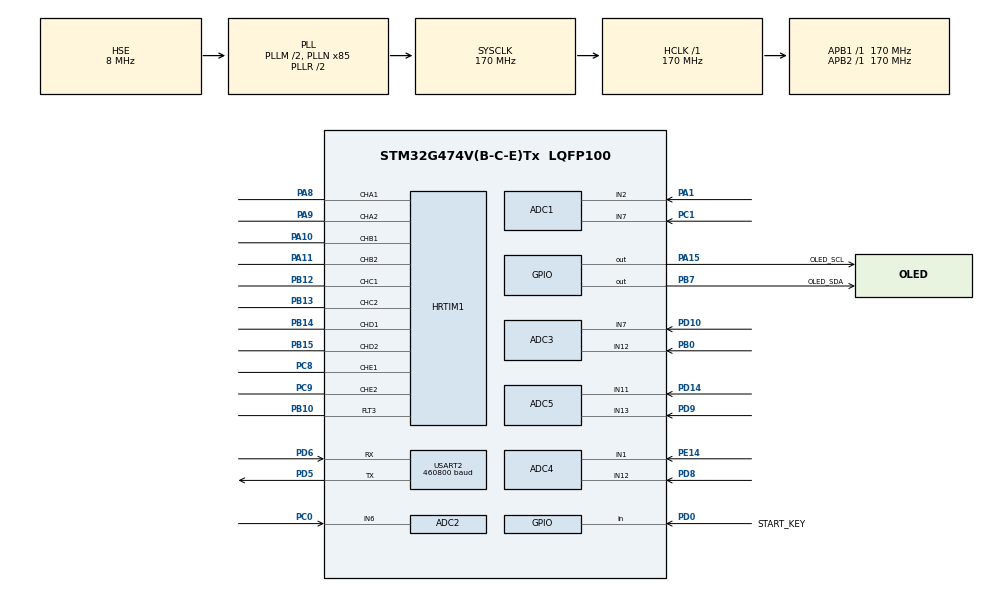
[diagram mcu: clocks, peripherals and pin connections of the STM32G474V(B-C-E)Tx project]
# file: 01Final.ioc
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ADC1.AWD1HighThreshold=4095
ADC1.AWD1ITMode=ENABLE
ADC1.AWD2HighThreshold=4095
ADC1.AWD2ITMode=ENABLE
ADC1.AWDChannel-1\#ChannelRegularConversion=ADC_CHANNEL_7
ADC1.Channel-0\#ChannelRegularConversion=ADC_CHANNEL_2
ADC1.Channel-1\#ChannelRegularConversion=ADC_CHANNEL_7
ADC1.ClockPrescaler=ADC_CLOCK_ASYNC_DIV4
ADC1.DMAContinuousRequests=ENABLE
ADC1.EOCSelection=ADC_EOC_SEQ_CONV
ADC1.EnableAnalogWatchDog1=true
ADC1.EnableAnalogWatchDog2=true
ADC1.ExternalTrigConv=ADC_EXTERNALTRIG_HRTIM_TRG1
ADC1.MonitoredBy-1\#ChannelRegularConversion=ADC_ANALOGWATCHDOG_2
ADC1.NbrOfConversion=2
ADC1.NbrOfConversionFlag=1
ADC1.OffsetNumber-0\#ChannelRegularConversion=ADC_OFFSET_NONE
ADC1.OffsetNumber-1\#ChannelRegularConversion=ADC_OFFSET_NONE
ADC1.Overrun=ADC_OVR_DATA_OVERWRITTEN
ADC1.Rank-0\#ChannelRegularConversion=1
ADC1.Rank-1\#ChannelRegularConversion=2
ADC1.RegFilteringConfig-1\#ChannelRegularConversion=ADC_AWD_FILTERING_NONE
ADC1.SamplingTime-0\#ChannelRegularConversion=ADC_SAMPLETIME_24CYCLES_5
ADC1.SamplingTime-1\#ChannelRegularConversion=ADC_SAMPLETIME_24CYCLES_5
ADC1.WDG2ChannelR2=ADC_CHANNEL_7
ADC1.WatchdogChannel=ADC_CHANNEL_2
ADC1.WatchdogMode2=ADC_ANALOGWATCHDOG_SINGLE_REGINJEC
ADC1.master=1
ADC2.AWD1HighThreshold=4095
ADC2.AWD1ITMode=ENABLE
ADC2.Channel-0\#ChannelRegularConversion=ADC_CHANNEL_6
ADC2.ClockPrescaler=ADC_CLOCK_ASYNC_DIV4
ADC2.DMAContinuousRequests=ENABLE
ADC2.EOCSelection=ADC_EOC_SEQ_CONV
ADC2.EnableAnalogWatchDog1=true
ADC2.ExternalTrigConv=ADC_EXTERNALTRIG_HRTIM_TRG1
ADC2.NbrOfConversion=1
ADC2.NbrOfConversionFlag=1
ADC2.OffsetNumber-0\#ChannelRegularConversion=ADC_OFFSET_NONE
ADC2.Overrun=ADC_OVR_DATA_OVERWRITTEN
ADC2.Rank-0\#ChannelRegularConversion=1
ADC2.SamplingTime-0\#ChannelRegularConversion=ADC_SAMPLETIME_24CYCLES_5
ADC2.WatchdogChannel=ADC_CHANNEL_6
ADC3.AWD1HighThreshold=4095
ADC3.AWD1ITMode=ENABLE
ADC3.AWD2HighThreshold=4095
ADC3.AWD2ITMode=ENABLE
ADC3.AWDChannel-2\#ChannelRegularConversion=ADC_CHANNEL_7
ADC3.Channel-0\#ChannelRegularConversion=ADC_CHANNEL_12
ADC3.Channel-2\#ChannelRegularConversion=ADC_CHANNEL_7
ADC3.ClockPrescaler=ADC_CLOCK_ASYNC_DIV4
ADC3.DMAContinuousRequests=ENABLE
ADC3.EOCSelection=ADC_EOC_SEQ_CONV
ADC3.EnableAnalogWatchDog1=true
ADC3.EnableAnalogWatchDog2=true
ADC3.ExternalTrigConv=ADC_EXTERNALTRIG_HRTIM_TRG2
ADC3.MonitoredBy-2\#ChannelRegularConversion=ADC_ANALOGWATCHDOG_2
ADC3.NbrOfConversion=2
ADC3.NbrOfConversionFlag=1
ADC3.OffsetNumber-2\#ChannelRegularConversion=ADC_OFFSET_NONE
ADC3.Overrun=ADC_OVR_DATA_OVERWRITTEN
ADC3.Rank-2\#ChannelRegularConversion=2
ADC3.RegFilteringConfig-2\#ChannelRegularConversion=ADC_AWD_FILTERING_NONE
ADC3.SamplingTime-0\#ChannelRegularConversion=ADC_SAMPLETIME_24CYCLES_5
ADC3.SamplingTime-2\#ChannelRegularConversion=ADC_SAMPLETIME_24CYCLES_5
ADC3.WDG2ChannelR2=ADC_CHANNEL_7
ADC3.WatchdogChannel=ADC_CHANNEL_12
ADC3.WatchdogMode2=ADC_ANALOGWATCHDOG_SINGLE_REGINJEC
ADC3.master=1
ADC4.AWD1HighThreshold=4095
ADC4.AWD1ITMode=ENABLE
ADC4.AWD2HighThreshold=4095
ADC4.AWD2ITMode=ENABLE
ADC4.AWDChannel-1\#ChannelRegularConversion=ADC_CHANNEL_1
ADC4.Channel-0\#ChannelRegularConversion=ADC_CHANNEL_12
ADC4.Channel-1\#ChannelRegularConversion=ADC_CHANNEL_1
ADC4.ClockPrescaler=ADC_CLOCK_ASYNC_DIV4
ADC4.DMAContinuousRequests=ENABLE
ADC4.EOCSelection=ADC_EOC_SEQ_CONV
ADC4.EnableAnalogWatchDog1=true
ADC4.EnableAnalogWatchDog2=true
ADC4.ExternalTrigConv=ADC_EXTERNALTRIG_HRTIM_TRG2
ADC4.MonitoredBy-1\#ChannelRegularConversion=ADC_ANALOGWATCHDOG_2
ADC4.NbrOfConversion=2
ADC4.NbrOfConversionFlag=1
ADC4.OffsetNumber-0\#ChannelRegularConversion=ADC_OFFSET_NONE
ADC4.OffsetNumber-1\#ChannelRegularConversion=ADC_OFFSET_NONE
ADC4.Overrun=ADC_OVR_DATA_OVERWRITTEN
ADC4.Rank-0\#ChannelRegularConversion=1
ADC4.Rank-1\#ChannelRegularConversion=2
ADC4.RegFilteringConfig-1\#ChannelRegularConversion=ADC_AWD_FILTERING_NONE
ADC4.SamplingTime-0\#ChannelRegularConversion=ADC_SAMPLETIME_24CYCLES_5
ADC4.SamplingTime-1\#ChannelRegularConversion=ADC_SAMPLETIME_24CYCLES_5
ADC4.WDG2ChannelR2=ADC_CHANNEL_1
ADC4.WatchdogChannel=ADC_CHANNEL_12
ADC4.WatchdogMode2=ADC_ANALOGWATCHDOG_SINGLE_REGINJEC
ADC5.AWD1HighThreshold=4095
ADC5.AWD1ITMode=ENABLE
ADC5.AWD2HighThreshold=4095
ADC5.AWD2ITMode=ENABLE
ADC5.AWDChannel-1\#ChannelRegularConversion=ADC_CHANNEL_11
ADC5.Channel-0\#ChannelRegularConversion=ADC_CHANNEL_13
ADC5.Channel-1\#ChannelRegularConversion=ADC_CHANNEL_11
ADC5.ClockPrescaler=ADC_CLOCK_ASYNC_DIV4
ADC5.DMAContinuousRequests=ENABLE
ADC5.EOCSelection=ADC_EOC_SEQ_CONV
ADC5.EnableAnalogWatchDog1=true
ADC5.EnableAnalogWatchDog2=true
ADC5.ExternalTrigConv=ADC_EXTERNALTRIG_HRTIM_TRG2
ADC5.MonitoredBy-1\#ChannelRegularConversion=ADC_ANALOGWATCHDOG_2
ADC5.NbrOfConversion=2
ADC5.NbrOfConversionFlag=1
ADC5.OffsetNumber-0\#ChannelRegularConversion=ADC_OFFSET_NONE
ADC5.OffsetNumber-1\#ChannelRegularConversion=ADC_OFFSET_NONE
ADC5.Overrun=ADC_OVR_DATA_OVERWRITTEN
ADC5.Rank-0\#ChannelRegularConversion=1
ADC5.Rank-1\#ChannelRegularConversion=2
ADC5.RegFilteringConfig-1\#ChannelRegularConversion=ADC_AWD_FILTERING_NONE
ADC5.SamplingTime-0\#ChannelRegularConversion=ADC_SAMPLETIME_24CYCLES_5
ADC5.SamplingTime-1\#ChannelRegularConversion=ADC_SAMPLETIME_24CYCLES_5
ADC5.WDG2ChannelR2=ADC_CHANNEL_11
ADC5.WatchdogChannel=ADC_CHANNEL_13
ADC5.WatchdogMode2=ADC_ANALOGWATCHDOG_SINGLE_REGINJEC
Dma.ADC1.0.Direction=DMA_PERIPH_TO_MEMORY
Dma.ADC1.0.EventEnable=DISABLE
Dma.ADC1.0.Instance=DMA1_Channel1
Dma.ADC1.0.MemDataAlignment=DMA_MDATAALIGN_HALFWORD
Dma.ADC1.0.MemInc=DMA_MINC_ENABLE
Dma.ADC1.0.Mode=DMA_CIRCULAR
Dma.ADC1.0.PeriphDataAlignment=DMA_PDATAALIGN_HALFWORD
Dma.ADC1.0.PeriphInc=DMA_PINC_DISABLE
Dma.ADC1.0.Polarity=HAL_DMAMUX_REQ_GEN_RISING
Dma.ADC1.0.Priority=DMA_PRIORITY_HIGH
Dma.ADC1.0.RequestNumber=1
Dma.ADC1.0.SignalID=NONE
Dma.ADC1.0.SyncEnable=DISABLE
Dma.ADC1.0.SyncPolarity=HAL_DMAMUX_SYNC_NO_EVENT
Dma.ADC1.0.SyncRequestNumber=1
Dma.ADC1.0.SyncSignalID=NONE
Dma.ADC2.1.Direction=DMA_PERIPH_TO_MEMORY
Dma.ADC2.1.EventEnable=DISABLE
Dma.ADC2.1.Instance=DMA1_Channel2
Dma.ADC2.1.MemDataAlignment=DMA_MDATAALIGN_HALFWORD
Dma.ADC2.1.MemInc=DMA_MINC_ENABLE
Dma.ADC2.1.Mode=DMA_CIRCULAR
Dma.ADC2.1.PeriphDataAlignment=DMA_PDATAALIGN_HALFWORD
Dma.ADC2.1.PeriphInc=DMA_PINC_DISABLE
Dma.ADC2.1.Polarity=HAL_DMAMUX_REQ_GEN_RISING
Dma.ADC2.1.Priority=DMA_PRIORITY_HIGH
Dma.ADC2.1.RequestNumber=1
Dma.ADC2.1.SignalID=NONE
Dma.ADC2.1.SyncEnable=DISABLE
Dma.ADC2.1.SyncPolarity=HAL_DMAMUX_SYNC_NO_EVENT
Dma.ADC2.1.SyncRequestNumber=1
Dma.ADC2.1.SyncSignalID=NONE
Dma.ADC3.4.Direction=DMA_PERIPH_TO_MEMORY
Dma.ADC3.4.EventEnable=DISABLE
Dma.ADC3.4.Instance=DMA2_Channel1
Dma.ADC3.4.MemDataAlignment=DMA_MDATAALIGN_HALFWORD
Dma.ADC3.4.MemInc=DMA_MINC_ENABLE
Dma.ADC3.4.Mode=DMA_CIRCULAR
Dma.ADC3.4.PeriphDataAlignment=DMA_PDATAALIGN_HALFWORD
Dma.ADC3.4.PeriphInc=DMA_PINC_DISABLE
Dma.ADC3.4.Polarity=HAL_DMAMUX_REQ_GEN_RISING
Dma.ADC3.4.Priority=DMA_PRIORITY_HIGH
Dma.ADC3.4.RequestNumber=1
Dma.ADC3.4.SignalID=NONE
Dma.ADC3.4.SyncEnable=DISABLE
Dma.ADC3.4.SyncPolarity=HAL_DMAMUX_SYNC_NO_EVENT
Dma.ADC3.4.SyncRequestNumber=1
Dma.ADC3.4.SyncSignalID=NONE
Dma.ADC4.2.Direction=DMA_PERIPH_TO_MEMORY
Dma.ADC4.2.EventEnable=DISABLE
Dma.ADC4.2.Instance=DMA2_Channel2
Dma.ADC4.2.MemDataAlignment=DMA_MDATAALIGN_HALFWORD
Dma.ADC4.2.MemInc=DMA_MINC_ENABLE
Dma.ADC4.2.Mode=DMA_CIRCULAR
Dma.ADC4.2.PeriphDataAlignment=DMA_PDATAALIGN_HALFWORD
Dma.ADC4.2.PeriphInc=DMA_PINC_DISABLE
Dma.ADC4.2.Polarity=HAL_DMAMUX_REQ_GEN_RISING
Dma.ADC4.2.Priority=DMA_PRIORITY_HIGH
Dma.ADC4.2.RequestNumber=1
Dma.ADC4.2.SignalID=NONE
Dma.ADC4.2.SyncEnable=DISABLE
Dma.ADC4.2.SyncPolarity=HAL_DMAMUX_SYNC_NO_EVENT
Dma.ADC4.2.SyncRequestNumber=1
Dma.ADC4.2.SyncSignalID=NONE
Dma.ADC5.3.Direction=DMA_PERIPH_TO_MEMORY
Dma.ADC5.3.EventEnable=DISABLE
Dma.ADC5.3.Instance=DMA2_Channel3
Dma.ADC5.3.MemDataAlignment=DMA_MDATAALIGN_HALFWORD
Dma.ADC5.3.MemInc=DMA_MINC_ENABLE
Dma.ADC5.3.Mode=DMA_CIRCULAR
Dma.ADC5.3.PeriphDataAlignment=DMA_PDATAALIGN_HALFWORD
Dma.ADC5.3.PeriphInc=DMA_PINC_DISABLE
Dma.ADC5.3.Polarity=HAL_DMAMUX_REQ_GEN_RISING
Dma.ADC5.3.Priority=DMA_PRIORITY_HIGH
Dma.ADC5.3.RequestNumber=1
Dma.ADC5.3.SignalID=NONE
Dma.ADC5.3.SyncEnable=DISABLE
Dma.ADC5.3.SyncPolarity=HAL_DMAMUX_SYNC_NO_EVENT
Dma.ADC5.3.SyncRequestNumber=1
Dma.ADC5.3.SyncSignalID=NONE
Dma.Request0=ADC1
Dma.Request1=ADC2
Dma.Request2=ADC4
Dma.Request3=ADC5
Dma.Request4=ADC3
HRTIM1.ADCTrigger1_Source1=HRTIM_ADCTRIGGEREVENT13_MASTER_CMP2
HRTIM1.ADCTrigger2_Source1=HRTIM_ADCTRIGGEREVENT24_MASTER_CMP2
HRTIM1.ADCTrigger_Id1=HRTIM_ADCTRIGGER_1
HRTIM1.ADCTrigger_Id2=HRTIM_ADCTRIGGER_2
HRTIM1.BlankingSourceFaultLine3=__NULL
HRTIM1.Bmrom_TA=HRTIM_TIM_BMROM_BOTH
HRTIM1.Bmrom_TB=HRTIM_TIM_BMROM_BOTH
HRTIM1.Bmrom_TC=HRTIM_TIM_BMROM_BOTH
HRTIM1.Bmrom_TD=HRTIM_TIM_BMROM_BOTH
HRTIM1.Bmrom_TE=HRTIM_TIM_BMROM_BOTH
HRTIM1.CompareUnit1-MasterTimer=__NULL
HRTIM1.CompareUnit1-Output_TA1TA2=HRTIM_COMPAREUNIT_1
HRTIM1.CompareUnit1-Output_TB1TB2=HRTIM_COMPAREUNIT_1
HRTIM1.CompareUnit1-Output_TC1TC2=HRTIM_COMPAREUNIT_1
HRTIM1.CompareUnit1-Output_TD1TD2=HRTIM_COMPAREUNIT_1
HRTIM1.CompareUnit1-Output_TE1TE2=HRTIM_COMPAREUNIT_1
HRTIM1.CompareUnit2-MasterTimer=HRTIM_COMPAREUNIT_2
HRTIM1.CompareValue1-Output_TA1TA2=17000
HRTIM1.CompareValue1-Output_TB1TB2=17000
HRTIM1.CompareValue1-Output_TC1TC2=17000
HRTIM1.CompareValue1-Output_TD1TD2=17000
HRTIM1.CompareValue1-Output_TE1TE2=17000
HRTIM1.CompareValue2-MasterTimer=17000
HRTIM1.DeadTimeInsertion-Output_TA1TA2=HRTIM_TIMDEADTIMEINSERTION_ENABLED
HRTIM1.DeadTimeInsertion-Output_TB1TB2=HRTIM_TIMDEADTIMEINSERTION_ENABLED
HRTIM1.DeadTimeInsertion-Output_TC1TC2=HRTIM_TIMDEADTIMEINSERTION_ENABLED
HRTIM1.DeadTimeInsertion-Output_TD1TD2=HRTIM_TIMDEADTIMEINSERTION_ENABLED
HRTIM1.DeadTimeInsertion-Output_TE1TE2=HRTIM_TIMDEADTIMEINSERTION_ENABLED
HRTIM1.FallingValue-Output_TA1TA2=85
HRTIM1.FallingValue-Output_TB1TB2=85
HRTIM1.FallingValue-Output_TC1TC2=85
HRTIM1.FallingValue-Output_TD1TD2=85
HRTIM1.FallingValue-Output_TE1TE2=85
HRTIM1.FaultEnable_Source1-Output_TA1TA2=HRTIM_TIMFAULTENABLE_FAULT3
HRTIM1.FaultEnable_Source1-Output_TB1TB2=HRTIM_TIMFAULTENABLE_FAULT3
HRTIM1.FaultEnable_Source1-Output_TC1TC2=HRTIM_TIMFAULTENABLE_FAULT3
HRTIM1.FaultEnable_Source1-Output_TD1TD2=HRTIM_TIMFAULTENABLE_FAULT3
HRTIM1.FaultEnable_Source1-Output_TE1TE2=HRTIM_TIMFAULTENABLE_FAULT3
HRTIM1.FaultLevel1-Output_TA1TA2=HRTIM_OUTPUTFAULTLEVEL_INACTIVE
HRTIM1.FaultLevel1-Output_TB1TB2=HRTIM_OUTPUTFAULTLEVEL_INACTIVE
HRTIM1.FaultLevel1-Output_TC1TC2=HRTIM_OUTPUTFAULTLEVEL_INACTIVE
HRTIM1.FaultLevel1-Output_TD1TD2=HRTIM_OUTPUTFAULTLEVEL_INACTIVE
HRTIM1.FaultLevel1-Output_TE1TE2=HRTIM_OUTPUTFAULTLEVEL_INACTIVE
HRTIM1.FaultLevel2-Output_TA1TA2=HRTIM_OUTPUTFAULTLEVEL_INACTIVE
HRTIM1.FaultLevel2-Output_TB1TB2=HRTIM_OUTPUTFAULTLEVEL_INACTIVE
HRTIM1.FaultLevel2-Output_TC1TC2=HRTIM_OUTPUTFAULTLEVEL_INACTIVE
HRTIM1.FaultLevel2-Output_TD1TD2=HRTIM_OUTPUTFAULTLEVEL_INACTIVE
HRTIM1.FaultLevel2-Output_TE1TE2=HRTIM_OUTPUTFAULTLEVEL_INACTIVE
HRTIM1.Fault_Line3=HRTIM_FAULT_3
HRTIM1.Ferom_TA=HRTIM_TIM_FEROM_BOTH
HRTIM1.Ferom_TB=HRTIM_TIM_FEROM_BOTH
HRTIM1.Ferom_TC=HRTIM_TIM_FEROM_BOTH
HRTIM1.Ferom_TD=HRTIM_TIM_FEROM_BOTH
HRTIM1.Ferom_TE=HRTIM_TIM_FEROM_BOTH
HRTIM1.HRTIMInterruptResquests1=HRTIM_IT_FLT3
HRTIM1.NumberADCTriggerSource1=1
HRTIM1.NumberADCTriggerSource2=1
HRTIM1.NumberFaultEnable-Output_TA1TA2=1
HRTIM1.NumberFaultEnable-Output_TB1TB2=1
HRTIM1.NumberFaultEnable-Output_TC1TC2=1
HRTIM1.NumberFaultEnable-Output_TD1TD2=1
HRTIM1.NumberFaultEnable-Output_TE1TE2=1
HRTIM1.NumberResetSource1-Output_TA1TA2=1
HRTIM1.NumberResetSource1-Output_TB1TB2=1
HRTIM1.NumberResetSource1-Output_TC1TC2=1
HRTIM1.NumberResetSource1-Output_TD1TD2=1
HRTIM1.NumberResetSource1-Output_TE1TE2=1
HRTIM1.NumberSetSource1-Output_TA1TA2=1
HRTIM1.NumberSetSource1-Output_TB1TB2=1
HRTIM1.NumberSetSource1-Output_TC1TC2=1
HRTIM1.NumberSetSource1-Output_TD1TD2=1
HRTIM1.NumberSetSource1-Output_TE1TE2=1
HRTIM1.NumberUpdateTrigger-Output_TA1TA2=0
HRTIM1.Outrom_TA=HRTIM_TIM_OUTROM_VALLEY
HRTIM1.Outrom_TB=HRTIM_TIM_OUTROM_VALLEY
HRTIM1.Outrom_TC=HRTIM_TIM_OUTROM_VALLEY
HRTIM1.Outrom_TD=HRTIM_TIM_OUTROM_VALLEY
HRTIM1.Outrom_TE=HRTIM_TIM_OUTROM_VALLEY
HRTIM1.Periode_MASTER=34000
HRTIM1.Periode_TA=34000
HRTIM1.Periode_TB=34000
HRTIM1.Periode_TC=34000
HRTIM1.Periode_TD=34000
HRTIM1.Periode_TE=34000
HRTIM1.Polarity_FaultLine3=HRTIM_FAULTPOLARITY_LOW
HRTIM1.PreloadEnable-Output_TA1TA2=HRTIM_PRELOAD_ENABLED
HRTIM1.PreloadEnable-Output_TB1TB2=HRTIM_PRELOAD_ENABLED
HRTIM1.PreloadEnable-Output_TC1TC2=HRTIM_PRELOAD_ENABLED
HRTIM1.PreloadEnable-Output_TD1TD2=HRTIM_PRELOAD_ENABLED
HRTIM1.PreloadEnable-Output_TE1TE2=HRTIM_PRELOAD_ENABLED
HRTIM1.PrescalerDead-Output_TA1TA2=HRTIM_TIMDEADTIME_PRESCALERRATIO_DIV1
HRTIM1.PrescalerDead-Output_TB1TB2=HRTIM_TIMDEADTIME_PRESCALERRATIO_DIV1
HRTIM1.PrescalerDead-Output_TC1TC2=HRTIM_TIMDEADTIME_PRESCALERRATIO_DIV1
HRTIM1.PrescalerDead-Output_TD1TD2=HRTIM_TIMDEADTIME_PRESCALERRATIO_DIV1
HRTIM1.PrescalerDead-Output_TE1TE2=HRTIM_TIMDEADTIME_PRESCALERRATIO_DIV1
HRTIM1.PrescalerRatio_MASTER=HRTIM_PRESCALERRATIO_MUL2
HRTIM1.PrescalerRatio_TA=HRTIM_PRESCALERRATIO_MUL4
HRTIM1.PrescalerRatio_TB=HRTIM_PRESCALERRATIO_MUL4
HRTIM1.PrescalerRatio_TC=HRTIM_PRESCALERRATIO_MUL4
HRTIM1.PrescalerRatio_TD=HRTIM_PRESCALERRATIO_MUL4
HRTIM1.PrescalerRatio_TE=HRTIM_PRESCALERRATIO_MUL4
HRTIM1.RepetitionCounter-MasterTimer=0
HRTIM1.RepetitionCounter-Output_TA1TA2=0
HRTIM1.RepetitionCounter-Output_TB1TB2=0
HRTIM1.RepetitionCounter-Output_TC1TC2=0
HRTIM1.RepetitionCounter-Output_TD1TD2=0
HRTIM1.RepetitionCounter-Output_TE1TE2=0
HRTIM1.RepetitionUpdate-Output_TA1TA2=HRTIM_UPDATEONREPETITION_ENABLED
HRTIM1.RepetitionUpdate-Output_TB1TB2=HRTIM_UPDATEONREPETITION_ENABLED
HRTIM1.RepetitionUpdate-Output_TC1TC2=HRTIM_UPDATEONREPETITION_ENABLED
HRTIM1.RepetitionUpdate-Output_TD1TD2=HRTIM_UPDATEONREPETITION_ENABLED
HRTIM1.RepetitionUpdate-Output_TE1TE2=HRTIM_UPDATEONREPETITION_ENABLED
HRTIM1.ResetOutput1_Source1-Output_TA1TA2=HRTIM_OUTPUTRESET_TIMCMP1
HRTIM1.ResetOutput1_Source1-Output_TB1TB2=HRTIM_OUTPUTRESET_TIMCMP1
HRTIM1.ResetOutput1_Source1-Output_TC1TC2=HRTIM_OUTPUTRESET_TIMCMP1
HRTIM1.ResetOutput1_Source1-Output_TD1TD2=HRTIM_OUTPUTRESET_TIMCMP1
HRTIM1.ResetOutput1_Source1-Output_TE1TE2=HRTIM_OUTPUTRESET_TIMCMP1
HRTIM1.RisingValue-Output_TA1TA2=85
HRTIM1.RisingValue-Output_TB1TB2=85
HRTIM1.RisingValue-Output_TC1TC2=85
HRTIM1.RisingValue-Output_TD1TD2=85
HRTIM1.RisingValue-Output_TE1TE2=85
HRTIM1.SetOutput1_Source1-Output_TA1TA2=HRTIM_OUTPUTSET_TIMCMP1
HRTIM1.SetOutput1_Source1-Output_TB1TB2=HRTIM_OUTPUTSET_TIMCMP1
HRTIM1.SetOutput1_Source1-Output_TC1TC2=HRTIM_OUTPUTSET_TIMCMP1
HRTIM1.SetOutput1_Source1-Output_TD1TD2=HRTIM_OUTPUTSET_TIMCMP1
HRTIM1.SetOutput1_Source1-Output_TE1TE2=HRTIM_OUTPUTSET_TIMCMP1
HRTIM1.UpDownMode-Output_TA1TA2=HRTIM_TIMERUPDOWNMODE_UPDOWN
HRTIM1.UpDownMode-Output_TB1TB2=HRTIM_TIMERUPDOWNMODE_UPDOWN
HRTIM1.UpDownMode-Output_TC1TC2=HRTIM_TIMERUPDOWNMODE_UPDOWN
HRTIM1.UpDownMode-Output_TD1TD2=HRTIM_TIMERUPDOWNMODE_UPDOWN
HRTIM1.UpDownMode-Output_TE1TE2=HRTIM_TIMERUPDOWNMODE_UPDOWN
HRTIM1.postscaler1=0
HRTIM1.postscaler2=0
HRTIM1.rom_TA=HRTIM_TIM_ROM_VALLEY
HRTIM1.rom_TB=HRTIM_TIM_ROM_VALLEY
HRTIM1.rom_TC=HRTIM_TIM_ROM_VALLEY
HRTIM1.rom_TD=HRTIM_TIM_ROM_VALLEY
HRTIM1.rom_TE=HRTIM_TIM_ROM_VALLEY
IWDG.Prescaler=IWDG_PRESCALER_64
IWDG.Reload=249
Mcu.Family=STM32G4
Mcu.Name=STM32G474V(B-C-E)Tx
Mcu.Package=LQFP100
NVIC.ADC1_2_IRQn=true\:1\:0\:true\:false\:true\:true\:true\:true
NVIC.ADC3_IRQn=true\:1\:0\:true\:false\:true\:true\:true\:true
NVIC.ADC4_IRQn=true\:1\:0\:true\:false\:true\:true\:true\:true
NVIC.ADC5_IRQn=true\:1\:0\:true\:false\:true\:true\:true\:true
NVIC.DMA1_Channel1_IRQn=true\:2\:0\:true\:false\:true\:false\:true\:true
NVIC.DMA1_Channel2_IRQn=true\:1\:0\:true\:false\:true\:false\:true\:true
NVIC.DMA2_Channel1_IRQn=true\:1\:0\:true\:false\:true\:false\:true\:true
NVIC.DMA2_Channel2_IRQn=true\:1\:0\:true\:false\:true\:false\:true\:true
NVIC.DMA2_Channel3_IRQn=true\:1\:0\:true\:false\:true\:false\:true\:true
NVIC.HRTIM1_FLT_IRQn=true\:0\:0\:false\:false\:true\:true\:true\:true
NVIC.PriorityGroup=NVIC_PRIORITYGROUP_4
PA1.Mode=IN2-Single-Ended
PA1.Signal=ADC1_IN2
PA10.Mode=Output_TB1TB2
PA10.Signal=HRTIM1_CHB1
PA11.Mode=Output_TB1TB2
PA11.Signal=HRTIM1_CHB2
PA13.Mode=Serial_Wire
PA13.Signal=SYS_JTMS-SWDIO
PA14.Mode=Serial_Wire
PA14.Signal=SYS_JTCK-SWCLK
PA15.GPIO_Label=OLED_SCL
PA15.GPIO_ModeDefaultOutputPP=GPIO_MODE_OUTPUT_PP
PA15.GPIO_PuPd=GPIO_NOPULL
PA15.GPIO_Speed=GPIO_SPEED_FREQ_HIGH
PA15.Signal=GPIO_Output
PA8.Mode=Output_TA1TA2
PA8.Signal=HRTIM1_CHA1
PA9.Mode=Output_TA1TA2
PA9.Signal=HRTIM1_CHA2
PB0.Mode=IN12-Single-Ended
PB0.Signal=ADC3_IN12
PB10.GPIO_PuPd=GPIO_PULLUP
PB10.Mode=Fault_Enable3
PB10.Signal=HRTIM1_FLT3
PB12.Mode=Output_TC1TC2
PB12.Signal=HRTIM1_CHC1
PB13.Mode=Output_TC1TC2
PB13.Signal=HRTIM1_CHC2
PB14.Mode=Output_TD1TD2
PB14.Signal=HRTIM1_CHD1
PB15.Mode=Output_TD1TD2
PB15.Signal=HRTIM1_CHD2
PB7.GPIO_Label=OLED_SDA
PB7.GPIO_ModeDefaultOutputPP=GPIO_MODE_OUTPUT_OD
PB7.GPIO_PuPd=GPIO_NOPULL
PB7.GPIO_Speed=GPIO_SPEED_FREQ_HIGH
PB7.Signal=GPIO_Output
PC0.Mode=IN6-Single-Ended
PC0.Signal=ADC2_IN6
PC1.Mode=IN7-Single-Ended
PC1.Signal=ADC1_IN7
PC8.Mode=Output_TE1TE2
PC8.Signal=HRTIM1_CHE1
PC9.Mode=Output_TE1TE2
PC9.Signal=HRTIM1_CHE2
PD0.GPIO_Label=START_KEY
PD0.GPIO_PuPd=GPIO_PULLUP
PD0.Signal=GPIO_Input
PD10.Mode=IN7-Single-Ended
PD10.Signal=ADC3_IN7
PD14.Mode=IN11-Single-Ended
PD14.Signal=ADC5_IN11
PD5.Mode=Asynchronous
PD5.Signal=USART2_TX
PD6.Mode=Asynchronous
PD6.Signal=USART2_RX
PD8.Mode=IN12-Single-Ended
PD8.Signal=ADC4_IN12
PD9.Mode=IN13-Single-Ended
PD9.Signal=ADC5_IN13
PE14.Mode=IN1-Single-Ended
PE14.Signal=ADC4_IN1
PF0-OSC_IN.Mode=HSE-External-Oscillator
PF0-OSC_IN.Signal=RCC_OSC_IN
PF1-OSC_OUT.Mode=HSE-External-Oscillator
PF1-OSC_OUT.Signal=RCC_OSC_OUT
ProjectManager.HeapSize=0x200
ProjectManager.StackSize=0x400
ProjectManager.TargetToolchain=MDK-ARM V5.32
RCC.ADC12Freq_Value=170000000
RCC.ADC345Freq_Value=170000000
RCC.AHBFreq_Value=170000000
RCC.APB1Freq_Value=170000000
RCC.APB1TimFreq_Value=170000000
RCC.APB2Freq_Value=170000000
RCC.APB2TimFreq_Value=170000000
RCC.CortexFreq_Value=170000000
RCC.EXTERNAL_CLOCK_VALUE=12288000
RCC.EnbaleCSS=true
RCC.HCLKFreq_Value=170000000
RCC.HSE_VALUE=8000000
RCC.HSI48_VALUE=48000000
RCC.HSI_VALUE=16000000
RCC.LSE_VALUE=32768
RCC.PLLM=RCC_PLLM_DIV2
RCC.PLLN=85
RCC.PLLSourceVirtual=RCC_PLLSOURCE_HSE
RCC.SYSCLKFreq_VALUE=170000000
RCC.SYSCLKSource=RCC_SYSCLKSOURCE_PLLCLK
RCC.USBFreq_Value=170000000
RCC.VCOOutputFreq_Value=340000000
USART2.BaudRate=460800
USART2.VirtualMode-Asynchronous=VM_ASYNC
VP_HRTIM1_VS_hrtimMasterTimerNoOutput.Mode=MasterTimer
VP_IWDG_VS_IWDG.Mode=IWDG_Activate
VP_SYS_VS_DBSignals.Mode=DisableDeadBatterySignals
board=custom

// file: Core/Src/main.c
/* USER CODE BEGIN Header */
/**
  ******************************************************************************
  * @file           : main.c
  * @brief          : PFC双闭环 + 三相INV开环联合验证主程序
  ******************************************************************************
  */
/*
 * 本文件只负责CubeMX外设装配、五路ADC/DMA回调转发、低速显示通信和IWDG监督，
 * 不在主循环中直接读取DMA原始数组，也不在ISR中执行OLED、阻塞USART或HAL_Delay。
 * 联合数据流：HRTIM Master CMP2 -> ADC1/2和ADC3/4/5 -> 各自一致性快照 ->
 * PFC 10 kHz PR/1 kHz PI、INV 10 kHz CBSVPWM -> A~E Compare预装载。
 * 默认pfc_inv_user_config.h为RAW_ADC且PWM=0，标定前所有功率输出均被禁止。
 */
/* USER CODE END Header */
#include "main.h"
#include "adc.h"
#include "dma.h"
#include "hrtim.h"
#include "iwdg.h"
#include "usart.h"
#include "gpio.h"

/* USER CODE BEGIN Includes */
#include <string.h>
#include "OLED.h"
#include "vofa.h"
#include "pfc_inv_user_config.h"
#include "pfc_inv_app.h"
#include "pfc_params.h"
#include "pfc_measure.h"
#include "pfc_control.h"
#include "pfc_hrtim.h"
#include "inv_measure.h"
#include "inv_hrtim.h"
#include "inv_open_loop.h"
/* USER CODE END Includes */

/* USER CODE BEGIN PV */
/* VOFA为阻塞发送，只由主循环每10 ms填充和发送；ISR不得访问该缓存。 */
static float vofa_data[VOFA_MAX_CHANNELS] = {0.0f};
static uint8_t vofa_raw_page = 0U;
static const PFC_Params *active_pfc_params = NULL;
/* 复位来源快照只在初始化阶段写入，供PFC状态机区分IWDG复位后的等待时间。 */
static uint8_t iwdg_reset_seen = 0U;
/* USER CODE END PV */

void SystemClock_Config(void);

/* USER CODE BEGIN 0 */
static void JointOledInitLabels(void)
{
  OLED_ShowString(1U, 1U, "P:     I:     ");
  OLED_ShowString(2U, 1U, "B:     U:     ");
  OLED_ShowString(3U, 1U, "S:     D:     ");
  OLED_ShowString(4U, 1U, "F:     H:     ");
}

/**
 * @brief 将完整PFC/INV快照转换为8通道VOFA数据。
 * @note 只由主循环调用；RAW_ADC模式每次在PFC统计页和INV六通道页之间切换，
 *       避免在8通道协议中丢失关键校准量。CH0页号为0或1，便于VOFA识别当前页。
 */
static void JointFillVofa(const PFC_Measurement *pfc,
                          const PFC_AdcCalibrationStats *pfc_stats,
                          const INV_Measurement *inv,
                          const PFC_INV_Telemetry *joint)
{
  INV_OpenLoopOutput reference;
  if ((pfc == NULL) || (pfc_stats == NULL) || (inv == NULL) || (joint == NULL)) { return; }

  if (PFC_INV_STAGE == PFC_INV_STAGE_RAW_ADC)
  {
    if (vofa_raw_page == 0U)
    {
      vofa_data[0] = 0.0f;
      vofa_data[1] = (float)pfc_stats->ipfc_mean;
      vofa_data[2] = (float)pfc_stats->ipfc_min;
      vofa_data[3] = (float)pfc_stats->ipfc_max;
      vofa_data[4] = (float)pfc_stats->vac_mean;
      vofa_data[5] = (float)pfc_stats->vac_min;
      vofa_data[6] = (float)pfc_stats->vac_max;
      vofa_data[7] = (float)pfc_stats->vbus_mean;
    }
    else
    {
      vofa_data[0] = 1.0f;
      vofa_data[1] = (float)inv->iu_raw;
      vofa_data[2] = (float)inv->iv_raw;
      vofa_data[3] = (float)inv->iw_raw;
      vofa_data[4] = (float)inv->vuv_raw;
      vofa_data[5] = (float)inv->vvw_raw;
      vofa_data[6] = (float)inv->vwu_raw;
      vofa_data[7] = (float)inv->fault_bits;
    }
    vofa_raw_page ^= 1U;
  }
  else
  {
    INV_OpenLoop_GetSnapshot(&reference);
    vofa_data[0] = pfc->vac;
    vofa_data[1] = pfc->ipfc;
    vofa_data[2] = pfc->vbus;
    vofa_data[3] = inv->vuv;
    vofa_data[4] = reference.sine_u;
    vofa_data[5] = joint->inv_modulation;
    vofa_data[6] = (float)joint->state;
    vofa_data[7] = (float)(joint->joint_fault_bits | joint->pfc_fault_bits | joint->inv_fault_bits);
  }
}

/** @brief 主循环每100 ms更新数字区域；所有输入均为已发布快照。 */
static void JointRefreshOled(const PFC_Measurement *pfc,
                             const INV_Measurement *inv,
                             const PFC_INV_Telemetry *joint)
{
  if ((pfc == NULL) || (inv == NULL) || (joint == NULL)) { return; }
  OLED_ShowNum(1U, 3U, pfc->vac_raw, 4U);
  OLED_ShowNum(1U, 11U, pfc->ipfc_raw, 4U);
  OLED_ShowNum(2U, 3U, pfc->vbus_raw, 4U);
  OLED_ShowNum(2U, 11U, inv->iu_raw, 4U);
  OLED_ShowNum(3U, 3U, (uint32_t)joint->state, 2U);
  OLED_ShowNum(3U, 11U, (uint32_t)(joint->inv_modulation * 1000.0f), 4U);
  OLED_ShowHexNum(4U, 3U, joint->joint_fault_bits | joint->pfc_fault_bits | joint->inv_fault_bits, 5U);
  OLED_ShowNum(4U, 11U, joint->inv_heartbeat % 100000U, 5U);
}
/* USER CODE END 0 */

int main(void)
{

  /* MCU Configuration--------------------------------------------------------*/

  /* Reset of all peripherals, Initializes the Flash interface and the Systick. */
  HAL_Init();

  /* Configure the system clock */
  SystemClock_Config();

  /* Initialize all configured peripherals */
  MX_GPIO_Init();
  MX_DMA_Init();
  MX_HRTIM1_Init();
  MX_ADC1_Init();
  MX_ADC2_Init();
  MX_USART2_UART_Init();
  MX_ADC3_Init();
  MX_ADC4_Init();
  MX_ADC5_Init();
  /* USER CODE BEGIN 2 */
  /*
   * CubeMX初始化结束后立即关闭A~E全部输出。计数器、PWM引脚和外部驱动工作是三个
   * 不同状态；下面只允许在五路DMA和联合状态机准备完成后开放对应PWM引脚。
   */
  PFC_INV_AppEmergencyOff();
  PFC_HRTIM_StopPower();
  INV_HRTIM_DisableOutputs();

  iwdg_reset_seen = (__HAL_RCC_GET_FLAG(RCC_FLAG_IWDGRST) != RESET) ? 1U : 0U;
  __HAL_RCC_CLEAR_RESET_FLAGS();
  active_pfc_params = PFC_Params_GetActive();

  /* OLED软件I2C需要上电稳定时间；延时只允许出现在启动阶段。 */
  HAL_Delay(100U);
  OLED_Init();
  JointOledInitLabels();

  if ((active_pfc_params == NULL) ||
      (PFC_INV_AppInit(active_pfc_params, iwdg_reset_seen) != HAL_OK))
  {
    Error_Handler();
  }

  /* ADC校准必须早于DMA启动，顺序与功率域无关；此时所有PWM仍保持关闭。 */
  if ((HAL_ADCEx_Calibration_Start(&hadc5, ADC_SINGLE_ENDED) != HAL_OK) ||
      (HAL_ADCEx_Calibration_Start(&hadc4, ADC_SINGLE_ENDED) != HAL_OK) ||
      (HAL_ADCEx_Calibration_Start(&hadc3, ADC_SINGLE_ENDED) != HAL_OK) ||
      (HAL_ADCEx_Calibration_Start(&hadc2, ADC_SINGLE_ENDED) != HAL_OK) ||
      (HAL_ADCEx_Calibration_Start(&hadc1, ADC_SINGLE_ENDED) != HAL_OK))
  {
    PFC_INV_AppTrip(PFC_INV_FAULT_SYSTEM, PFC_FAULT_ADC_ERROR,
                    INV_FAULT_ADC_ERROR);
    Error_Handler();
  }

  /* 标定未确认时两个接口保留CubeMX宽窗口；确认后才写入运行期AWD阈值。 */
  if ((PFC_Measure_ConfigureWatchdogs(&hadc1, &hadc2) != HAL_OK) ||
      (INV_Measure_ConfigureWatchdogs(&hadc3, &hadc4, &hadc5) != HAL_OK))
  {
    PFC_INV_AppTrip(PFC_INV_FAULT_SYSTEM, PFC_FAULT_ADC_ERROR,
                    INV_FAULT_ADC_ERROR);
    Error_Handler();
  }

  /*
   * 先启动所有DMA，让ADC在HRTIM触发到来前进入等待状态。每个数组长度必须与规则组
   * Rank数一致；ADC1完整帧是PFC 10 kHz入口，ADC3/4/5凑齐后是INV 10 kHz入口。
   */
  if ((HAL_ADC_Start_DMA(&hadc5, (uint32_t *)INV_Adc5Dma, 2U) != HAL_OK) ||
      (HAL_ADC_Start_DMA(&hadc4, (uint32_t *)INV_Adc4Dma, 2U) != HAL_OK) ||
      (HAL_ADC_Start_DMA(&hadc3, (uint32_t *)INV_Adc3Dma, 2U) != HAL_OK) ||
      (HAL_ADC_Start_DMA(&hadc2, (uint32_t *)PFC_Adc2Dma, 1U) != HAL_OK) ||
      (HAL_ADC_Start_DMA(&hadc1, (uint32_t *)PFC_Adc1Dma, 2U) != HAL_OK))
  {
    PFC_INV_AppTrip(PFC_INV_FAULT_SYSTEM, PFC_FAULT_ADC_ERROR,
                    INV_FAULT_ADC_ERROR);
    Error_Handler();
  }

  /* Half Transfer不是完整Rank帧，必须关闭，防止同一PWM周期重复执行控制。 */
  __HAL_DMA_DISABLE_IT(hadc5.DMA_Handle, DMA_IT_HT);
  __HAL_DMA_DISABLE_IT(hadc4.DMA_Handle, DMA_IT_HT);
  __HAL_DMA_DISABLE_IT(hadc3.DMA_Handle, DMA_IT_HT);
  __HAL_DMA_DISABLE_IT(hadc2.DMA_Handle, DMA_IT_HT);
  __HAL_DMA_DISABLE_IT(hadc1.DMA_Handle, DMA_IT_HT);

  /* 联合层一次性启动Master和A~E计数器；该调用仍不开放任何PWM输出引脚。 */
  if (PFC_INV_AppStartSharedTimebase() != HAL_OK)
  {
    PFC_INV_AppTrip(PFC_INV_FAULT_HRTIM, PFC_FAULT_HRTIM, INV_FAULT_HRTIM);
    Error_Handler();
  }

  /* 给五路DMA最多200 ms建立序列；失败表示触发、DMA或Rank配置不可用。 */
  {
    uint32_t sampling_start_tick = HAL_GetTick();
    while (PFC_INV_AppSamplingReady() == 0U)
    {
      if ((HAL_GetTick() - sampling_start_tick) >= 200U)
      {
        PFC_INV_AppTrip(PFC_INV_FAULT_SEQUENCE, PFC_FAULT_ADC_SYNC,
                        INV_FAULT_ADC_SYNC);
        Error_Handler();
      }
    }
  }

  /* IWDG最后初始化；之后只有联合监督确认活动域均前进时才刷新。 */
  MX_IWDG_Init();
  __HAL_DBGMCU_FREEZE_IWDG();
  /* USER CODE END 2 */

  /* Infinite loop */
  /* USER CODE BEGIN WHILE */
  uint32_t app_tick = HAL_GetTick();
  uint32_t vofa_tick = HAL_GetTick();
  uint32_t oled_tick = HAL_GetTick();
  uint32_t supervisor_tick = HAL_GetTick();
  while (1)
  {
    /* USER CODE END WHILE */

    /* USER CODE BEGIN 3 */
    while ((HAL_GetTick() - app_tick) >= 1U)
    {
      app_tick++;
      PFC_INV_AppTick1ms();
    }

    if ((HAL_GetTick() - vofa_tick) >= PFC_INV_VOFA_PERIOD_MS)
    {
      PFC_Measurement pfc;
      PFC_AdcCalibrationStats pfc_stats;
      INV_Measurement inv;
      PFC_INV_Telemetry joint;

      vofa_tick = HAL_GetTick();
      PFC_Measure_GetSnapshot(&pfc);
      PFC_Measure_GetCalibrationStats(&pfc_stats);
      INV_Measure_GetSnapshot(&inv);
      PFC_INV_AppGetTelemetry(&joint);
      JointFillVofa(&pfc, &pfc_stats, &inv, &joint);
      /* USART发送失败不参与功率许可，避免调试线断开导致PWM停机。 */
      (void)VOFA_Send(&huart2, vofa_data, VOFA_MAX_CHANNELS);
    }

    if ((HAL_GetTick() - oled_tick) >= PFC_INV_OLED_PERIOD_MS)
    {
      PFC_Measurement pfc;
      INV_Measurement inv;
      PFC_INV_Telemetry joint;

      oled_tick = HAL_GetTick();
      PFC_Measure_GetSnapshot(&pfc);
      INV_Measure_GetSnapshot(&inv);
      PFC_INV_AppGetTelemetry(&joint);
      JointRefreshOled(&pfc, &inv, &joint);
    }

    if ((HAL_GetTick() - supervisor_tick) >= PFC_INV_SUPERVISOR_PERIOD_MS)
    {
      supervisor_tick = HAL_GetTick();
      if (PFC_INV_AppWatchdogHealthy() != 0U)
      {
        (void)HAL_IWDG_Refresh(&hiwdg);
      }
    }
  }
  /* USER CODE END 3 */
}

void SystemClock_Config(void)
{
  RCC_OscInitTypeDef RCC_OscInitStruct = {0};
  RCC_ClkInitTypeDef RCC_ClkInitStruct = {0};

  /** Configure the main internal regulator output voltage
  */
  HAL_PWREx_ControlVoltageScaling(PWR_REGULATOR_VOLTAGE_SCALE1_BOOST);

  /** Initializes the RCC Oscillators according to the specified parameters
  * in the RCC_OscInitTypeDef structure.
  */
  RCC_OscInitStruct.OscillatorType = RCC_OSCILLATORTYPE_LSI|RCC_OSCILLATORTYPE_HSE;
  RCC_OscInitStruct.HSEState = RCC_HSE_ON;
  RCC_OscInitStruct.LSIState = RCC_LSI_ON;
  RCC_OscInitStruct.PLL.PLLState = RCC_PLL_ON;
  RCC_OscInitStruct.PLL.PLLSource = RCC_PLLSOURCE_HSE;
  RCC_OscInitStruct.PLL.PLLM = RCC_PLLM_DIV2;
  RCC_OscInitStruct.PLL.PLLN = 85;
  RCC_OscInitStruct.PLL.PLLP = RCC_PLLP_DIV2;
  RCC_OscInitStruct.PLL.PLLQ = RCC_PLLQ_DIV2;
  RCC_OscInitStruct.PLL.PLLR = RCC_PLLR_DIV2;
  if (HAL_RCC_OscConfig(&RCC_OscInitStruct) != HAL_OK)
  {
    Error_Handler();
  }

  /** Initializes the CPU, AHB and APB buses clocks
  */
  RCC_ClkInitStruct.ClockType = RCC_CLOCKTYPE_HCLK|RCC_CLOCKTYPE_SYSCLK
                              |RCC_CLOCKTYPE_PCLK1|RCC_CLOCKTYPE_PCLK2;
  RCC_ClkInitStruct.SYSCLKSource = RCC_SYSCLKSOURCE_PLLCLK;
  RCC_ClkInitStruct.AHBCLKDivider = RCC_SYSCLK_DIV1;
  RCC_ClkInitStruct.APB1CLKDivider = RCC_HCLK_DIV1;
  RCC_ClkInitStruct.APB2CLKDivider = RCC_HCLK_DIV1;

  if (HAL_RCC_ClockConfig(&RCC_ClkInitStruct, FLASH_LATENCY_4) != HAL_OK)
  {
    Error_Handler();
  }

  /** Enables the Clock Security System
  */
  HAL_RCC_EnableCSS();
}

/* USER CODE BEGIN 4 */
void HAL_ADC_ConvCpltCallback(ADC_HandleTypeDef *hadc)
{
  if ((hadc == NULL) || (hadc->Instance == NULL)) { return; }
  if (hadc->Instance == ADC2)
  {
    PFC_Measure_OnAdc2Complete();
  }
  else if (hadc->Instance == ADC1)
  {
    PFC_Measure_OnAdc1Complete();
    if (PFC_Measure_GetFault() == PFC_FAULT_NONE) { PFC_INV_AppFastPfcStep(); }
  }
  else if (hadc->Instance == ADC3)
  {
    INV_Measurement frame;
    if (INV_Measure_OnAdc3Complete(&frame)) { PFC_INV_AppFastInvStep(&frame); }
  }
  else if (hadc->Instance == ADC4)
  {
    INV_Measurement frame;
    if (INV_Measure_OnAdc4Complete(&frame)) { PFC_INV_AppFastInvStep(&frame); }
  }
  else if (hadc->Instance == ADC5)
  {
    INV_Measurement frame;
    if (INV_Measure_OnAdc5Complete(&frame)) { PFC_INV_AppFastInvStep(&frame); }
  }
}

void HAL_ADC_ErrorCallback(ADC_HandleTypeDef *hadc)
{
  if ((hadc == NULL) || (hadc->Instance == ADC1) || (hadc->Instance == ADC2))
  {
    PFC_INV_AppReportPfcFault(PFC_FAULT_ADC_ERROR);
  }
  else
  {
    PFC_INV_AppReportInvFault(INV_FAULT_ADC_ERROR);
  }
}

void HAL_ADC_LevelOutOfWindowCallback(ADC_HandleTypeDef *hadc)
{
  if ((hadc == NULL) || (hadc->Instance == ADC1))
  {
#if PFC_USER_RELAXED_PWM_TEST == 0U
    PFC_INV_AppReportPfcFault(PFC_FAULT_AWD_IPFC | PFC_FAULT_OVERCURRENT);
#endif
  }
  else if (hadc->Instance == ADC2)
  {
#if PFC_USER_RELAXED_PWM_TEST == 0U
    PFC_INV_AppReportPfcFault(PFC_FAULT_AWD_VAC | PFC_FAULT_VAC_LOST);
#endif
  }
  else
  {
#if INV_USER_RELAXED_MONITORING == 0U
    PFC_INV_AppReportInvFault(INV_FAULT_ADC_WATCHDOG);
#endif
  }
}

void HAL_ADCEx_LevelOutOfWindow2Callback(ADC_HandleTypeDef *hadc)
{
  if ((hadc == NULL) || (hadc->Instance == ADC1))
  {
#if PFC_USER_RELAXED_PWM_TEST == 0U
    PFC_INV_AppReportPfcFault(PFC_FAULT_AWD_VBUS | PFC_FAULT_VBUS_OV);
#endif
  }
  else
  {
#if INV_USER_RELAXED_MONITORING == 0U
    PFC_INV_AppReportInvFault(INV_FAULT_ADC_WATCHDOG);
#endif
  }
}

void HAL_HRTIM_Fault3Callback(HRTIM_HandleTypeDef *hhrtim)
{
  (void)hhrtim;
  PFC_INV_AppTrip(PFC_INV_FAULT_HRTIM, PFC_FAULT_HRTIM, INV_FAULT_HRTIM);
}

void HAL_RCC_CSSCallback(void)
{
  PFC_INV_AppTrip(PFC_INV_FAULT_SYSTEM, PFC_FAULT_HRTIM, INV_FAULT_CLOCK);
}
/* USER CODE END 4 */

void Error_Handler(void)
{
  /* USER CODE BEGIN Error_Handler_Debug */
  /* 不可恢复HAL错误先通过寄存器关闭A~E，再停止中断并等待IWDG复位。 */
  PFC_INV_AppEmergencyOff();
  __disable_irq();
  while (1)
  {
  }
  /* USER CODE END Error_Handler_Debug */
}
